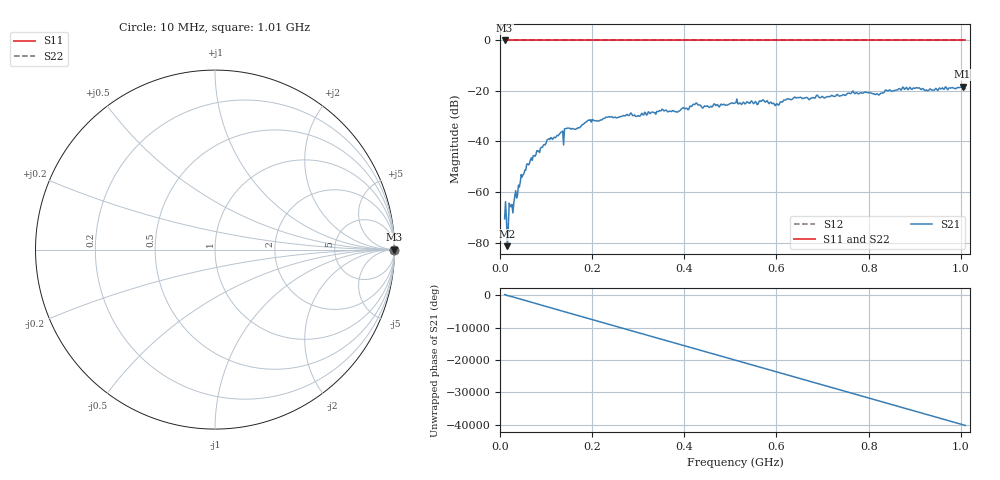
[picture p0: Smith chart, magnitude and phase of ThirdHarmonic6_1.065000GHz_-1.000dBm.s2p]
! 8/16/2025 9:35:40 AM
! C:\ANRITSUVNA\TEMP\TEMP.S2P
! CHANNEL.1
! TR.MEASUREMENT
! RAW.DATA
! RF.CORRECTION.OFF
! AVERAGING.OFF
! IF.BANDWIDTH: 5KHZ
! SWEEPTYPE:  FREQ.SWEEP(Linear)
! Reference Plane Port Info
! PORT:  PORT1  PORT2
! DISTANCE:  0  m  0  m
! TIME:  0  s  0  s
! PHASE.OFFSET:  0  deg.  0  deg.
! LOSS:  0  dB  0  dB
! REF.LOSS:  0  dB  0  dB
! REF.FREQ:  0  Hz  0  Hz
! Power Info
! POWER:  -20  dBm  -20  dBm
! EFF.POWER:  -20  dBm  -20  dBm
! SOURCE.ATTEN:  0  dB  0  dB
! TEST.ATTEN:  0  dB  0  dB
# GHZ S RI R 50.0
! FREQ.GHZ  S11RE  S11IM  S21RE  S21IM  S12RE  S12IM  S22RE  S22IM
!; PortSelection: Port_12
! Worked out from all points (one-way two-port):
!   501 points, 10 MHz to 1.01 GHz, reference 50 ohm
!   highest |S21| = -18.25 dB at 1.004 GHz (marker M1); lowest = -81.4 dB at 16 MHz (marker M2)
!   lowest |S11| = 0.0 dB at 10 MHz (marker M3)
!   |S11| at or under -10 dB: nowhere
!   |S22| runs from 0.0 to 0.0 dB; largest |S21 - S12| = 1.1
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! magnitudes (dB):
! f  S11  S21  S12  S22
! 10 MHz  0.0  -70.6  0.0  0.0
! 14 MHz  0.0  -70.7  0.0  0.0
! 16 MHz  0.0  -81.4  0.0  0.0
! 20 MHz  0.0  -64.4  0.0  0.0
! 22 MHz  0.0  -65.4  0.0  0.0
! 32 MHz  0.0  -61.7  0.0  0.0
! 50 MHz  0.0  -53.1  0.0  0.0
! 70 MHz  0.0  -47.5  0.0  0.0
! 106 MHz  0.0  -39.0  0.0  0.0
! 134 MHz  0.0  -36.2  0.0  0.0
! 144 MHz  0.0  -34.9  0.0  0.0
! 178 MHz  0.0  -33.4  0.0  0.0
! 192 MHz  0.0  -31.5  0.0  0.0
! 344 MHz  0.0  -28.1  0.0  0.0
! 510 MHz  0.0  -24.7  0.0  0.0
! 568 MHz  0.0  -24.0  0.0  0.0
! 600 MHz  0.0  -25.1  0.0  0.0
! 642 MHz  0.0  -22.7  0.0  0.0
! 678 MHz  0.0  -22.6  0.0  0.0
! 844 MHz  0.0  -19.7  0.0  0.0
! 1.004 GHz  0.0  -18.2  0.0  0.0
! 1.01 GHz  0.0  -19.1  0.0  0.0
